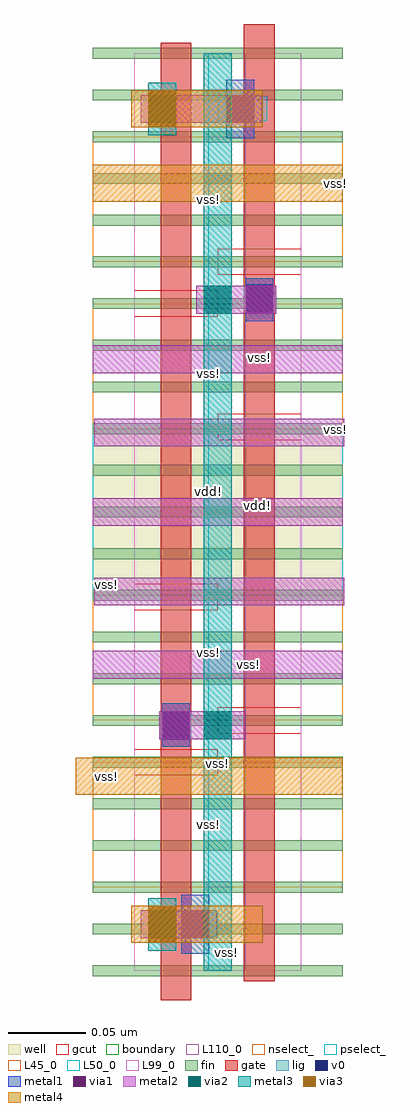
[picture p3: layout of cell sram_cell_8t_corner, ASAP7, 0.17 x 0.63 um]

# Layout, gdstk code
import gdstk
lib = gdstk.Library(unit=1e-6, precision=2.5e-10)
def R(c, l, rs):  # rectangles x0, y0, x1, y1
    for r in rs: c.add(gdstk.rectangle(r[:2], r[2:], *l))
def A(c, l, x, y, w, h, nx, ny, dx, dy):  # array of equal rectangles
    R(c, l, [(x+i*dx, y+j*dy, x+i*dx+w, y+j*dy+h) for i in range(nx) for j in range(ny)])
well = (1, 0)
fin = (2, 0)
gate = (7, 0)
gcut = (10, 0)
nselect_ = (12, 0)
pselect_ = (13, 0)
lig = (16, 0)
v0 = (18, 0)
metal1 = (19, 0)
metal2 = (20, 0)
via1 = (21, 0)
via2 = (25, 0)
metal3 = (30, 0)
via3 = (35, 0)
metal4 = (40, 0)
L45_0 = (45, 0)
L50_0 = (50, 0)
L99_0 = (99, 0)
boundary = (100, 0)
L110_0 = (110, 0)

sram_cell_8t_corner = lib.new_cell('sram_cell_8t_corner')
R(sram_cell_8t_corner, well, [(-0.027,0.081,0.135,0.189)])
A(sram_cell_8t_corner, fin, -0.027, -0.1655, 0.162, 0.007, 1, 23, 0, 0.027)
R(sram_cell_8t_corner, gate, [(0.017,-0.181,0.037,0.439), (0.071,-0.169,0.091,0.451)])
R(sram_cell_8t_corner, gcut, [(0,-0.0355,0.054,-0.0185), (0.054,-0.0085,0.108,0.0085), (0,0.0715,0.054,0.0885), (0.054,0.1815,0.108,0.1985), (0,0.2615,0.054,0.2785), (0.054,0.2885,0.108,0.3055)])
R(sram_cell_8t_corner, nselect_, [(-0.027,-0.108,0.135,-0.027), (-0.027,0,0.135,0.081), (-0.027,0.189,0.135,0.27), (-0.027,0.297,0.135,0.378)])
R(sram_cell_8t_corner, pselect_, [(-0.027,0.081,0.135,0.189)])
R(sram_cell_8t_corner, lig, [(0.017,-0.14,0.054,-0.124), (0.016,-0.0115,0.037,0.0045), (0.071,0.2655,0.092,0.2815), (0.054,0.388,0.086,0.404)])
R(sram_cell_8t_corner, v0, [(0.0305,-0.141,0.0485,-0.123), (0.018,-0.0125,0.036,0.0055), (0.072,0.2645,0.09,0.2825), (0.0595,0.387,0.0775,0.405)])
R(sram_cell_8t_corner, metal1, [(0.0305,-0.151,0.0485,-0.113), (0.018,-0.017,0.036,0.011), (0.072,0.2585,0.09,0.2865), (0.0595,0.377,0.0775,0.415)])
A(sram_cell_8t_corner, metal2, -0.027, 0.027, 0.162, 0.018, 1, 3, 0, 0.099)
R(sram_cell_8t_corner, metal2, [(0.004,-0.141,0.0535,-0.123), (0.016,-0.012,0.072,0.006), (-0.026,0.0745,0.136,0.0925), (-0.026,0.1775,0.136,0.1955), (0.04,0.2635,0.092,0.2815), (0.004,0.387,0.0825,0.405)])
R(sram_cell_8t_corner, via1, [(0.0305,-0.141,0.0485,-0.123), (0.018,-0.012,0.036,0.006), (0.072,0.2635,0.09,0.2815), (0.0595,0.387,0.0775,0.405)])
R(sram_cell_8t_corner, via2, [(0.009,-0.141,0.027,-0.123), (0.045,-0.012,0.063,0.006), (0.045,0.2635,0.063,0.2815), (0.009,0.387,0.027,0.405)])
R(sram_cell_8t_corner, metal3, [(0.045,-0.162,0.063,0.432), (0.009,-0.149,0.027,-0.115), (0.009,0.379,0.027,0.413)])
R(sram_cell_8t_corner, via3, [(0.009,-0.144,0.027,-0.12), (0.009,0.384,0.027,0.408)])
R(sram_cell_8t_corner, metal4, [(-0.002,-0.144,0.083,-0.12), (-0.038,-0.048,0.135,-0.024), (-0.027,0.336,0.135,0.36), (-0.002,0.384,0.083,0.408)])
R(sram_cell_8t_corner, L45_0, [(0.048,-0.144,0.072,-0.12), (0.048,0.384,0.072,0.408)])
R(sram_cell_8t_corner, L50_0, [(0.048,-0.162,0.072,0.432)])
R(sram_cell_8t_corner, L99_0, [(0,-0.162,0.108,0.432)])
R(sram_cell_8t_corner, boundary, [(0,-0.162,0.108,0.432)])
R(sram_cell_8t_corner, L110_0, [(0,-0.162,0.108,0.432)])
sram_cell_8t_corner.add(gdstk.Label('vss!', (0.081,0.235), layer=20, texttype=251))
sram_cell_8t_corner.add(gdstk.Label('vss!', (0.074,0.036), layer=20, texttype=251))
sram_cell_8t_corner.add(gdstk.Label('vdd!', (0.0795,0.1395), layer=20, texttype=251))
sram_cell_8t_corner.add(gdstk.Label('vss!', (0.13,0.1885), layer=20, texttype=251))
sram_cell_8t_corner.add(gdstk.Label('vss!', (-0.018,0.088), layer=20, texttype=251))
sram_cell_8t_corner.add(gdstk.Label('vdd!', (0.048,0.148), layer=1, texttype=251))
sram_cell_8t_corner.add(gdstk.Label('vss!', (0.048,0.2245), layer=3, texttype=251))
sram_cell_8t_corner.add(gdstk.Label('vss!', (0.048,0.044), layer=3, texttype=251))
sram_cell_8t_corner.add(gdstk.Label('vss!', (-0.018,-0.036), layer=40, texttype=251))
sram_cell_8t_corner.add(gdstk.Label('vss!', (0.13,0.348), layer=40, texttype=251))
sram_cell_8t_corner.add(gdstk.Label('vss!', (0.048,-0.0675), layer=3, texttype=251))
sram_cell_8t_corner.add(gdstk.Label('vss!', (0.048,0.3375), layer=3, texttype=251))
sram_cell_8t_corner.add(gdstk.Label('vss!', (0.054,-0.028), layer=30, texttype=251))
sram_cell_8t_corner.add(gdstk.Label('vss!', (0.06,-0.15), layer=50, texttype=251))

lib.write_gds('sram_cell_8t_corner.gds')
